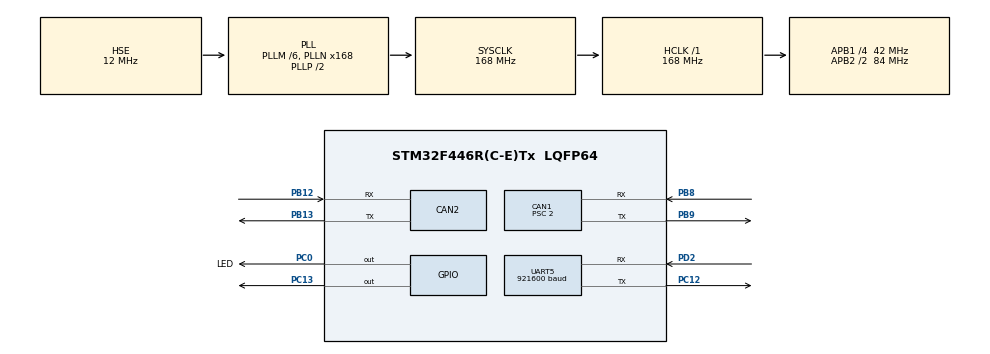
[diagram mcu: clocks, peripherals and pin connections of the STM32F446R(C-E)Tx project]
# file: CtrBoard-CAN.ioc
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CAN1.BS1=CAN_BS1_15TQ
CAN1.BS2=CAN_BS2_5TQ
CAN1.CalculateTimeQuantum=47.61904761904762
CAN1.Prescaler=2
CAN2.BS1=CAN_BS1_15TQ
CAN2.BS2=CAN_BS2_5TQ
CAN2.CalculateTimeQuantum=380.95238095238096
FREERTOS.Tasks01=Motor,0,128,Motor_Task,Default,NULL,Dynamic,NULL,NULL
Mcu.Family=STM32F4
Mcu.Name=STM32F446R(C-E)Tx
Mcu.Package=LQFP64
NVIC.CAN1_RX0_IRQn=true\:0\:0\:false\:false\:true\:false\:true\:true
NVIC.PriorityGroup=NVIC_PRIORITYGROUP_4
NVIC.TIM1_UP_TIM10_IRQn=true\:15\:0\:true\:false\:true\:false\:false\:true
NVIC.TimeBase=TIM1_UP_TIM10_IRQn
NVIC.TimeBaseIP=TIM1
NVIC.UART5_IRQn=true\:0\:0\:false\:false\:true\:false\:true\:true
PA13.Mode=Serial_Wire
PA13.Signal=SYS_JTMS-SWDIO
PA14.Mode=Serial_Wire
PA14.Signal=SYS_JTCK-SWCLK
PB12.Mode=Slave
PB12.Signal=CAN2_RX
PB13.Mode=Slave
PB13.Signal=CAN2_TX
PB8.Mode=Master
PB8.Signal=CAN1_RX
PB9.Mode=Master
PB9.Signal=CAN1_TX
PC0.GPIO_Label=LED
PC0.GPIO_ModeDefaultOutputPP=GPIO_MODE_OUTPUT_PP
PC0.GPIO_PuPd=GPIO_NOPULL
PC0.GPIO_Speed=GPIO_SPEED_FREQ_LOW
PC0.PinState=GPIO_PIN_RESET
PC0.Signal=GPIO_Output
PC12.Mode=Asynchronous
PC12.Signal=UART5_TX
PC13.PinState=GPIO_PIN_SET
PC13.Signal=GPIO_Output
PD2.Mode=Asynchronous
PD2.Signal=UART5_RX
PH0-OSC_IN.Mode=HSE-External-Oscillator
PH0-OSC_IN.Signal=RCC_OSC_IN
PH1-OSC_OUT.Mode=HSE-External-Oscillator
PH1-OSC_OUT.Signal=RCC_OSC_OUT
ProjectManager.HeapSize=0x400
ProjectManager.StackSize=0x800
ProjectManager.TargetToolchain=MDK-ARM V5.27
RCC.AHBFreq_Value=168000000
RCC.APB1CLKDivider=RCC_HCLK_DIV4
RCC.APB1Freq_Value=42000000
RCC.APB1TimFreq_Value=84000000
RCC.APB2CLKDivider=RCC_HCLK_DIV2
RCC.APB2Freq_Value=84000000
RCC.APB2TimFreq_Value=168000000
RCC.CortexFreq_Value=168000000
RCC.HCLKFreq_Value=168000000
RCC.HSE_VALUE=12000000
RCC.PLLM=6
RCC.PLLN=168
RCC.PLLQ=7
RCC.PLLSAIM=6
RCC.PLLSAIN=96
RCC.PLLSAIP=RCC_PLLSAIP_DIV4
RCC.PLLSourceVirtual=RCC_PLLSOURCE_HSE
RCC.SYSCLKFreq_VALUE=168000000
RCC.SYSCLKSource=RCC_SYSCLKSOURCE_PLLCLK
RCC.USBFreq_Value=48000000
RCC.VCOOutputFreq_Value=336000000
UART5.BaudRate=921600
UART5.VirtualMode=Asynchronous
VP_FREERTOS_VS_CMSIS_V1.Mode=CMSIS_V1
VP_SYS_VS_tim1.Mode=TIM1
board=custom

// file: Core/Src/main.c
/* USER CODE BEGIN Header */
/**
  ******************************************************************************
  * @file           : main.c
  * @brief          : Main program body
  ******************************************************************************
  * @attention
  *
  * <h2><center>&copy; Copyright (c) 2023 STMicroelectronics.
  * All rights reserved.</center></h2>
  *
  * This software component is licensed by ST under BSD 3-Clause license,
  * the "License"; You may not use this file except in compliance with the
  * License. You may obtain a copy of the License at:
  *                        opensource.org/licenses/BSD-3-Clause
  *
  ******************************************************************************
  */
/* USER CODE END Header */
#include "main.h"
#include "cmsis_os.h"
#include "can.h"
#include "usart.h"
#include "gpio.h"

/* USER CODE BEGIN Includes */
#include <math.h>
#include "bsp_can.h"
/* USER CODE END Includes */

void SystemClock_Config(void);
void MX_FREERTOS_Init(void);

int main(void)
{

  /* MCU Configuration--------------------------------------------------------*/

  /* Reset of all peripherals, Initializes the Flash interface and the Systick. */
  HAL_Init();

  /* Configure the system clock */
  SystemClock_Config();

  /* Initialize all configured peripherals */
  MX_GPIO_Init();
  MX_CAN1_Init();
  MX_CAN2_Init();
  MX_UART5_Init();
  /* USER CODE BEGIN 2 */
	HAL_GPIO_WritePin(GPIOC, GPIO_PIN_13, GPIO_PIN_SET);
  can_filter_init();
	HAL_Delay(1000);				//延时1s为了给DM_MC01板可控电源电源1稳定启动
	Motor_enable();					//各个电机使能

  /* USER CODE END 2 */

  /* Call init function for freertos objects (in freertos.c) */
  MX_FREERTOS_Init();
  /* Start scheduler */
  osKernelStart();

  /* We should never get here as control is now taken by the scheduler */
  /* Infinite loop */
  while (1)
  {

  }
}

void SystemClock_Config(void)
{
  RCC_OscInitTypeDef RCC_OscInitStruct = {0};
  RCC_ClkInitTypeDef RCC_ClkInitStruct = {0};

  /** Configure the main internal regulator output voltage
  */
  __HAL_RCC_PWR_CLK_ENABLE();
  __HAL_PWR_VOLTAGESCALING_CONFIG(PWR_REGULATOR_VOLTAGE_SCALE1);
  /** Initializes the RCC Oscillators according to the specified parameters
  * in the RCC_OscInitTypeDef structure.
  */
  RCC_OscInitStruct.OscillatorType = RCC_OSCILLATORTYPE_HSE;
  RCC_OscInitStruct.HSEState = RCC_HSE_ON;
  RCC_OscInitStruct.PLL.PLLState = RCC_PLL_ON;
  RCC_OscInitStruct.PLL.PLLSource = RCC_PLLSOURCE_HSE;
  RCC_OscInitStruct.PLL.PLLM = 6;
  RCC_OscInitStruct.PLL.PLLN = 168;
  RCC_OscInitStruct.PLL.PLLP = RCC_PLLP_DIV2;
  RCC_OscInitStruct.PLL.PLLQ = 7;
  RCC_OscInitStruct.PLL.PLLR = 2;
  if (HAL_RCC_OscConfig(&RCC_OscInitStruct) != HAL_OK)
  {
    Error_Handler();
  }
  /** Initializes the CPU, AHB and APB buses clocks
  */
  RCC_ClkInitStruct.ClockType = RCC_CLOCKTYPE_HCLK|RCC_CLOCKTYPE_SYSCLK
                              |RCC_CLOCKTYPE_PCLK1|RCC_CLOCKTYPE_PCLK2;
  RCC_ClkInitStruct.SYSCLKSource = RCC_SYSCLKSOURCE_PLLCLK;
  RCC_ClkInitStruct.AHBCLKDivider = RCC_SYSCLK_DIV1;
  RCC_ClkInitStruct.APB1CLKDivider = RCC_HCLK_DIV4;
  RCC_ClkInitStruct.APB2CLKDivider = RCC_HCLK_DIV2;

  if (HAL_RCC_ClockConfig(&RCC_ClkInitStruct, FLASH_LATENCY_5) != HAL_OK)
  {
    Error_Handler();
  }
}

/* USER CODE BEGIN 4 */
/**
 * @brief  发送标准ID的数据帧
 * @param  hcan     CAN的句柄
 * @param  ID       数据帧ID
 * @param  pData    数组指针
 * @param  Len      字节数0~8
 */
uint8_t CANx_SendStdData(CAN_HandleTypeDef* hcan,uint16_t ID,uint8_t *pData,uint16_t Len)
{
  static CAN_TxHeaderTypeDef   Tx_Header;

	Tx_Header.StdId=ID;
	Tx_Header.ExtId=0;
	Tx_Header.IDE=0;
	Tx_Header.RTR=0;
	Tx_Header.DLC=Len;

        /*找到空的发送邮箱，把数据发送出去*/
	if(HAL_CAN_AddTxMessage(hcan, &Tx_Header, pData, (uint32_t*)CAN_TX_MAILBOX0) != HAL_OK) //
	{
		if(HAL_CAN_AddTxMessage(hcan, &Tx_Header, pData, (uint32_t*)CAN_TX_MAILBOX1) != HAL_OK)
		{
			HAL_CAN_AddTxMessage(hcan, &Tx_Header, pData, (uint32_t*)CAN_TX_MAILBOX2);
        }
    }
    return 0;
}

/* USER CODE END 4 */

void HAL_TIM_PeriodElapsedCallback(TIM_HandleTypeDef *htim)
{
  if (htim->Instance == TIM1) {
    HAL_IncTick();
  }
}

void Error_Handler(void)
{
}

/************************ (C) COPYRIGHT STMicroelectronics *****END OF FILE****/

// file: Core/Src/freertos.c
/* USER CODE BEGIN Header */
/**
  ******************************************************************************
  * File Name          : freertos.c
  * Description        : Code for freertos applications
  ******************************************************************************
  * @attention
  *
  * <h2><center>&copy; Copyright (c) 2023 STMicroelectronics.
  * All rights reserved.</center></h2>
  *
  * This software component is licensed by ST under Ultimate Liberty license
  * SLA0044, the "License"; You may not use this file except in compliance with
  * the License. You may obtain a copy of the License at:
  *                             www.st.com/SLA0044
  *
  ******************************************************************************
  */
/* USER CODE END Header */

#include "FreeRTOS.h"
#include "task.h"
#include "main.h"
#include "cmsis_os.h"

/* USER CODE BEGIN Includes */
#include "can.h"
#include "bsp_can.h"
/* USER CODE END Includes */

/* USER CODE BEGIN PTD */
extern uint8_t Data[];
extern uint8_t Data2[];
/* USER CODE END PTD */

osThreadId MotorHandle;

void Motor_Task(void const * argument);

void MX_FREERTOS_Init(void); /* (MISRA C 2004 rule 8.1) */

/* GetIdleTaskMemory prototype (linked to static allocation support) */
void vApplicationGetIdleTaskMemory( StaticTask_t **ppxIdleTaskTCBBuffer, StackType_t **ppxIdleTaskStackBuffer, uint32_t *pulIdleTaskStackSize );

/* USER CODE BEGIN GET_IDLE_TASK_MEMORY */
static StaticTask_t xIdleTaskTCBBuffer;
static StackType_t xIdleStack[configMINIMAL_STACK_SIZE];

void vApplicationGetIdleTaskMemory( StaticTask_t **ppxIdleTaskTCBBuffer, StackType_t **ppxIdleTaskStackBuffer, uint32_t *pulIdleTaskStackSize )
{
  *ppxIdleTaskTCBBuffer = &xIdleTaskTCBBuffer;
  *ppxIdleTaskStackBuffer = &xIdleStack[0];
  *pulIdleTaskStackSize = configMINIMAL_STACK_SIZE;
  /* place for user code */
}
/* USER CODE END GET_IDLE_TASK_MEMORY */

void MX_FREERTOS_Init(void) {

  /* Create the thread(s) */
  /* definition and creation of Motor */
  osThreadDef(Motor, Motor_Task, osPriorityNormal, 0, 128);
  MotorHandle = osThreadCreate(osThread(Motor), NULL);

}

void Motor_Task(void const * argument)
{
  /* USER CODE BEGIN Motor_Task */
  /* Infinite loop */
  for(;;)
  {
		Motor_control();
    osDelay(1);
  }
  /* USER CODE END Motor_Task */
}

/************************ (C) COPYRIGHT STMicroelectronics *****END OF FILE****/
